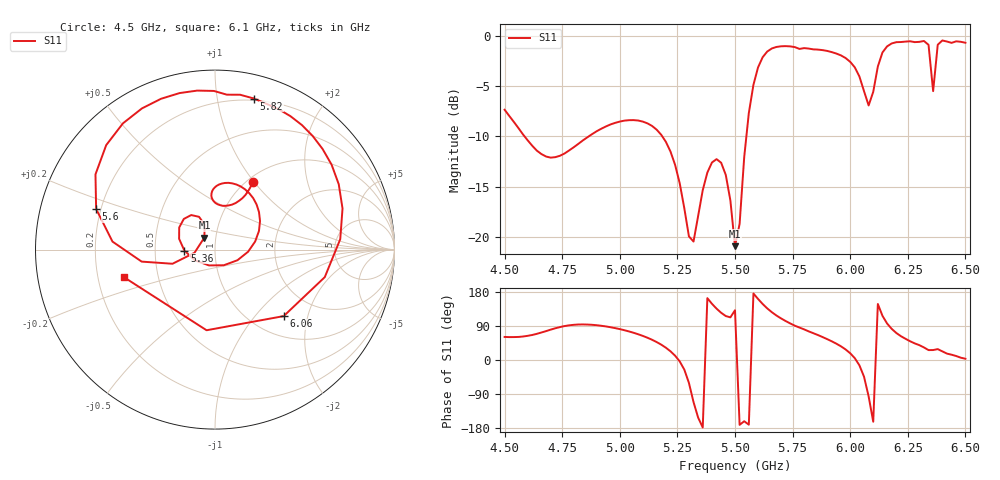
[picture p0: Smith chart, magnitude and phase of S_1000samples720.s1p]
! TOUCHSTONE file generated by CST MICROWAVE STUDIO
! Date and time: Sat Oct 29 03:52:01 2022
! Project name: L.cst
! Parameters = {Di=1.27; Epsilon_r=1.56; InnerDiameter=1.27; Length=2; Lf=10; Lg=60; OuterConductorThickness=0.2921; OuterDiameter=3.6; Wf=3; Wp=41.2; de=1.5; df=6.8; g=0.8; gx=1.33051; gy=2.80389; h=2.34; hf=1.524; px=14.0468; py=8.68316; w=9.7; wx=12.7163; wy=5.87927}
! Header version: 2018
! Port assignment regex: !\s*Touchstone port\s*([0-9]+)\s*=\s*(CST MWS port|CST DS port)\s*([0-9]+|Zmin|Zmax)\s*\(\"(.*)\"\)(\s*mode\s*([0-9]+))?.*
! Touchstone port assignment:
! Touchstone port 1 = CST MWS port 1 ("")
# GHz S DB R 50
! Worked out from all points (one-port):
!   101 points, 4.5 GHz to 6.5 GHz, reference 50 ohm
!   lowest |S11| = -21.0 dB at 5.5 GHz (marker M1), VSWR 1.20, Z = 44 + j5.98 ohm
!   |S11| at or under -10 dB: 4.587 GHz to 4.865 GHz (277.6 MHz wide, 5.88 % of centre); 5.185 GHz to 5.549 GHz (364.7 MHz wide, 6.8 % of centre)
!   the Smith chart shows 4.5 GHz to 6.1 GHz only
!   S11 on the Smith chart (normalised r, x): 4.5 GHz: 1.06, +0.98; 5.36 GHz: 0.71, -0.01; 5.6 GHz: 0.18, +0.16; 5.82 GHz: 0.18, +1.27; 6.06 GHz: 1.38, -1.43; 6.1 GHz: 0.31, -0.14
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4.5  -7.33 60.8
4.76  -11.70 89.5
5  -8.51 81.5
5.16  -9.32 47.3
5.26  -14.67 -3.7
5.32  -20.50 -111.0
5.36  -15.36 -178.1
5.44  -12.63 124.5
5.5  -20.96 131.2
5.56  -7.66 -170.7
5.6  -3.10 161.1
5.68  -1.05 117.3
5.76  -1.07 90.4
5.82  -1.22 75.5
5.92  -1.57 49.3
6  -2.54 17.9
6.04  -4.00 -14.1
6.06  -5.47 -44.1
6.08  -6.90 -96.0
6.1  -5.54 -162.9
6.12  -3.01 147.8
6.16  -1.00 96.4
6.26  -0.49 49.5
6.34  -0.84 26.1
6.36  -5.47 26.3
6.38  -0.83 28.7
6.4  -0.41 22.8
6.5  -0.64 3.3
